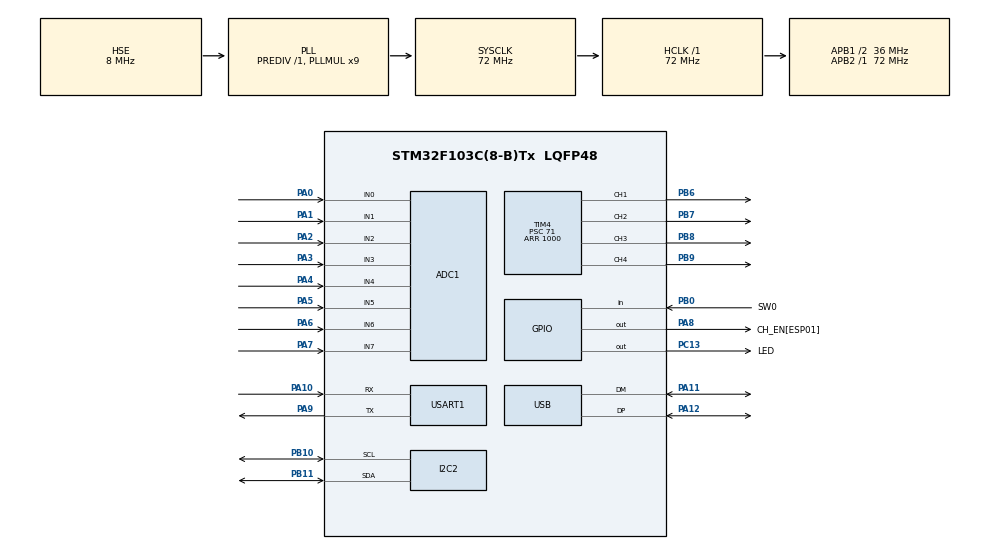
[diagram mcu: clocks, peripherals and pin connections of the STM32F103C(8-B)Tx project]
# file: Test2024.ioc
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ADC1.Channel-0\#ChannelRegularConversion=ADC_CHANNEL_0
ADC1.Channel-1\#ChannelRegularConversion=ADC_CHANNEL_1
ADC1.Channel-2\#ChannelRegularConversion=ADC_CHANNEL_2
ADC1.Channel-3\#ChannelRegularConversion=ADC_CHANNEL_3
ADC1.Channel-4\#ChannelRegularConversion=ADC_CHANNEL_4
ADC1.Channel-5\#ChannelRegularConversion=ADC_CHANNEL_5
ADC1.Channel-6\#ChannelRegularConversion=ADC_CHANNEL_6
ADC1.Channel-7\#ChannelRegularConversion=ADC_CHANNEL_7
ADC1.NbrOfConversion=8
ADC1.NbrOfConversionFlag=1
ADC1.Rank-0\#ChannelRegularConversion=1
ADC1.Rank-1\#ChannelRegularConversion=2
ADC1.Rank-2\#ChannelRegularConversion=3
ADC1.Rank-3\#ChannelRegularConversion=4
ADC1.Rank-4\#ChannelRegularConversion=5
ADC1.Rank-5\#ChannelRegularConversion=6
ADC1.Rank-6\#ChannelRegularConversion=7
ADC1.Rank-7\#ChannelRegularConversion=8
ADC1.SamplingTime-0\#ChannelRegularConversion=ADC_SAMPLETIME_55CYCLES_5
ADC1.SamplingTime-1\#ChannelRegularConversion=ADC_SAMPLETIME_55CYCLES_5
ADC1.SamplingTime-2\#ChannelRegularConversion=ADC_SAMPLETIME_55CYCLES_5
ADC1.SamplingTime-3\#ChannelRegularConversion=ADC_SAMPLETIME_55CYCLES_5
ADC1.SamplingTime-4\#ChannelRegularConversion=ADC_SAMPLETIME_55CYCLES_5
ADC1.SamplingTime-5\#ChannelRegularConversion=ADC_SAMPLETIME_55CYCLES_5
ADC1.SamplingTime-6\#ChannelRegularConversion=ADC_SAMPLETIME_55CYCLES_5
ADC1.SamplingTime-7\#ChannelRegularConversion=ADC_SAMPLETIME_55CYCLES_5
ADC1.master=1
Dma.ADC1.0.Direction=DMA_PERIPH_TO_MEMORY
Dma.ADC1.0.Instance=DMA1_Channel1
Dma.ADC1.0.MemDataAlignment=DMA_MDATAALIGN_HALFWORD
Dma.ADC1.0.MemInc=DMA_MINC_ENABLE
Dma.ADC1.0.Mode=DMA_NORMAL
Dma.ADC1.0.PeriphDataAlignment=DMA_PDATAALIGN_HALFWORD
Dma.ADC1.0.PeriphInc=DMA_PINC_DISABLE
Dma.ADC1.0.Priority=DMA_PRIORITY_LOW
Dma.I2C2_RX.1.Direction=DMA_PERIPH_TO_MEMORY
Dma.I2C2_RX.1.Instance=DMA1_Channel5
Dma.I2C2_RX.1.MemDataAlignment=DMA_MDATAALIGN_BYTE
Dma.I2C2_RX.1.MemInc=DMA_MINC_ENABLE
Dma.I2C2_RX.1.Mode=DMA_NORMAL
Dma.I2C2_RX.1.PeriphDataAlignment=DMA_PDATAALIGN_BYTE
Dma.I2C2_RX.1.PeriphInc=DMA_PINC_DISABLE
Dma.I2C2_RX.1.Priority=DMA_PRIORITY_LOW
Dma.I2C2_TX.2.Direction=DMA_MEMORY_TO_PERIPH
Dma.I2C2_TX.2.Instance=DMA1_Channel4
Dma.I2C2_TX.2.MemDataAlignment=DMA_MDATAALIGN_BYTE
Dma.I2C2_TX.2.MemInc=DMA_MINC_ENABLE
Dma.I2C2_TX.2.Mode=DMA_NORMAL
Dma.I2C2_TX.2.PeriphDataAlignment=DMA_PDATAALIGN_BYTE
Dma.I2C2_TX.2.PeriphInc=DMA_PINC_DISABLE
Dma.I2C2_TX.2.Priority=DMA_PRIORITY_LOW
Dma.Request0=ADC1
Dma.Request1=I2C2_RX
Dma.Request2=I2C2_TX
I2C2.I2C_Mode=I2C_Fast
Mcu.Family=STM32F1
Mcu.Name=STM32F103C(8-B)Tx
Mcu.Package=LQFP48
NVIC.DMA1_Channel1_IRQn=true\:0\:0\:false\:false\:true\:false\:true\:true
NVIC.DMA1_Channel4_IRQn=true\:0\:0\:false\:false\:true\:false\:true\:true
NVIC.DMA1_Channel5_IRQn=true\:0\:0\:false\:false\:true\:false\:true\:true
NVIC.I2C2_EV_IRQn=true\:0\:0\:false\:false\:true\:true\:true\:true
NVIC.PriorityGroup=NVIC_PRIORITYGROUP_4
NVIC.TIM1_UP_IRQn=true\:0\:0\:false\:false\:true\:true\:true\:true
NVIC.USART1_IRQn=true\:0\:0\:false\:false\:true\:true\:true\:true
NVIC.USB_LP_CAN1_RX0_IRQn=true\:0\:0\:false\:false\:true\:false\:true\:true
PA0-WKUP.Signal=ADCx_IN0
PA1.Signal=ADCx_IN1
PA10.Mode=Asynchronous
PA10.Signal=USART1_RX
PA11.Mode=Device
PA11.Signal=USB_DM
PA12.Mode=Device
PA12.Signal=USB_DP
PA13.Mode=Serial_Wire
PA13.Signal=SYS_JTMS-SWDIO
PA14.Mode=Serial_Wire
PA14.Signal=SYS_JTCK-SWCLK
PA2.Signal=ADCx_IN2
PA3.Signal=ADCx_IN3
PA4.Signal=ADCx_IN4
PA5.Signal=ADCx_IN5
PA6.Signal=ADCx_IN6
PA7.Signal=ADCx_IN7
PA8.GPIO_Label=CH_EN[ESP01]
PA8.Signal=GPIO_Output
PA9.Mode=Asynchronous
PA9.Signal=USART1_TX
PB0.GPIO_Label=SW0
PB0.GPIO_PuPd=GPIO_PULLUP
PB0.Signal=GPIO_Input
PB10.Mode=I2C
PB10.Signal=I2C2_SCL
PB11.Mode=I2C
PB11.Signal=I2C2_SDA
PB6.Signal=S_TIM4_CH1
PB7.Signal=S_TIM4_CH2
PB8.Signal=S_TIM4_CH3
PB9.Signal=S_TIM4_CH4
PC13-TAMPER-RTC.GPIO_Label=LED
PC13-TAMPER-RTC.Signal=GPIO_Output
PC14-OSC32_IN.Mode=LSE-External-Oscillator
PC14-OSC32_IN.Signal=RCC_OSC32_IN
PC15-OSC32_OUT.Mode=LSE-External-Oscillator
PC15-OSC32_OUT.Signal=RCC_OSC32_OUT
PD0-OSC_IN.Mode=HSE-External-Oscillator
PD0-OSC_IN.Signal=RCC_OSC_IN
PD1-OSC_OUT.Mode=HSE-External-Oscillator
PD1-OSC_OUT.Signal=RCC_OSC_OUT
ProjectManager.HeapSize=0x200
ProjectManager.StackSize=0x400
ProjectManager.TargetToolchain=STM32CubeIDE
RCC.ADCPresc=RCC_ADCPCLK2_DIV6
RCC.AHBFreq_Value=72000000
RCC.APB1CLKDivider=RCC_HCLK_DIV2
RCC.APB1Freq_Value=36000000
RCC.APB1TimFreq_Value=72000000
RCC.APB2Freq_Value=72000000
RCC.APB2TimFreq_Value=72000000
RCC.HCLKFreq_Value=72000000
RCC.PLLMUL=RCC_PLL_MUL9
RCC.SYSCLKFreq_VALUE=72000000
RCC.SYSCLKSource=RCC_SYSCLKSOURCE_PLLCLK
RCC.USBFreq_Value=48000000
RCC.USBPrescaler=RCC_USBCLKSOURCE_PLL_DIV1_5
SH.ADCx_IN0.0=ADC1_IN0,IN0
SH.ADCx_IN1.0=ADC1_IN1,IN1
SH.ADCx_IN2.0=ADC1_IN2,IN2
SH.ADCx_IN3.0=ADC1_IN3,IN3
SH.ADCx_IN4.0=ADC1_IN4,IN4
SH.ADCx_IN5.0=ADC1_IN5,IN5
SH.ADCx_IN6.0=ADC1_IN6,IN6
SH.ADCx_IN7.0=ADC1_IN7,IN7
SH.S_TIM4_CH1.0=TIM4_CH1,PWM Generation1 CH1
SH.S_TIM4_CH2.0=TIM4_CH2,PWM Generation2 CH2
SH.S_TIM4_CH3.0=TIM4_CH3,PWM Generation3 CH3
SH.S_TIM4_CH4.0=TIM4_CH4,PWM Generation4 CH4
TIM1.Period=249
TIM1.Prescaler=71
TIM4.Channel-PWM\ Generation1\ CH1=TIM_CHANNEL_1
TIM4.Channel-PWM\ Generation2\ CH2=TIM_CHANNEL_2
TIM4.Channel-PWM\ Generation3\ CH3=TIM_CHANNEL_3
TIM4.Channel-PWM\ Generation4\ CH4=TIM_CHANNEL_4
TIM4.Period=1000
TIM4.Prescaler=71
USART1.VirtualMode=VM_ASYNC
USB.low_power_enable=DISABLE
USB_DEVICE.APP_RX_DATA_SIZE=256
USB_DEVICE.APP_TX_DATA_SIZE=256
USB_DEVICE.CLASS_NAME_FS=CDC
USB_DEVICE.PID_CDC_FS=0x5740
USB_DEVICE.VID=0x483
USB_DEVICE.VirtualMode=Cdc
USB_DEVICE.VirtualModeFS=Cdc_FS
VP_TIM1_VS_ClockSourceINT.Mode=Internal
VP_TIM4_VS_ClockSourceINT.Mode=Internal
VP_USB_DEVICE_VS_USB_DEVICE_CDC_FS.Mode=CDC_FS
board=custom

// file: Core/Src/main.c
/* USER CODE BEGIN Header */
/**
 ******************************************************************************
 * @file           : main.c
 * @brief          : Main program body
 ******************************************************************************
 * @attention
 *
 * Copyright (c) 2024 STMicroelectronics.
 * All rights reserved.
 *
 * This software is licensed under terms that can be found in the LICENSE file
 * in the root directory of this software component.
 * If no LICENSE file comes with this software, it is provided AS-IS.
 *
 ******************************************************************************
 */
/* USER CODE END Header */
#include "main.h"
#include "usb_device.h"

/* USER CODE BEGIN Includes */
#include "app_core.h"
/* USER CODE END Includes */

ADC_HandleTypeDef hadc1;
DMA_HandleTypeDef hdma_adc1;

I2C_HandleTypeDef hi2c2;
DMA_HandleTypeDef hdma_i2c2_rx;
DMA_HandleTypeDef hdma_i2c2_tx;

TIM_HandleTypeDef htim1;
TIM_HandleTypeDef htim4;

UART_HandleTypeDef huart1;

void SystemClock_Config(void);
static void MX_GPIO_Init(void);
static void MX_DMA_Init(void);
static void MX_ADC1_Init(void);
static void MX_I2C2_Init(void);
static void MX_TIM1_Init(void);
static void MX_TIM4_Init(void);
static void MX_USART1_UART_Init(void);

/* USER CODE BEGIN 0 */

/*
 * Implementaciones de Callbacks HAL.
 * Estas funciones simplemente delegan la llamada al módulo app_core,
 * manteniendo este archivo (main.c) limpio y enfocado en la inicialización.
 */

void HAL_TIM_PeriodElapsedCallback(TIM_HandleTypeDef *htim)
{
  App_Core_TIM_PeriodElapsedCallback(htim);
}

void HAL_ADC_ConvCpltCallback(ADC_HandleTypeDef *hadc)
{
  App_Core_ADC_ConvCpltCallback(hadc);
}

void HAL_UART_RxCpltCallback(UART_HandleTypeDef *huart)
{
  App_Core_UART_RxCpltCallback(huart);
}

void HAL_I2C_MemTxCpltCallback(I2C_HandleTypeDef *hi2c)
{
  App_Core_I2C_MemTxCpltCallback(hi2c);
}

void HAL_I2C_MemRxCpltCallback(I2C_HandleTypeDef *hi2c)
{
  App_Core_I2C_MemRxCpltCallback(hi2c);
}

// La función de recepción de USB es llamada desde la librería del USB,
// no es un callback HAL estándar, pero aplicamos el mismo principio.
void USB_ReceiveData(uint8_t *buf, uint16_t len)
{
  App_Core_USB_ReceiveData(buf, len);
}

/* USER CODE END 0 */

int main(void)
{

  /* MCU Configuration--------------------------------------------------------*/

  /* Reset of all peripherals, Initializes the Flash interface and the Systick. */
  HAL_Init();

  /* Configure the system clock */
  SystemClock_Config();

  /* Initialize all configured peripherals */
  MX_GPIO_Init();
  MX_DMA_Init();
  MX_USB_DEVICE_Init();
  MX_ADC1_Init();
  MX_I2C2_Init();
  MX_TIM1_Init();
  MX_TIM4_Init();
  MX_USART1_UART_Init();
  /* USER CODE BEGIN 2 */

  App_Core_Init();

  /* USER CODE END 2 */

  /* Infinite loop */
  while (1)
  {

    /* USER CODE BEGIN 3 */
    // Ejecuta el bucle principal de la aplicación
    App_Core_Loop();
  }
  /* USER CODE END 3 */
}

void SystemClock_Config(void)
{
  RCC_OscInitTypeDef RCC_OscInitStruct = {0};
  RCC_ClkInitTypeDef RCC_ClkInitStruct = {0};
  RCC_PeriphCLKInitTypeDef PeriphClkInit = {0};

  /** Initializes the RCC Oscillators according to the specified parameters
   * in the RCC_OscInitTypeDef structure.
   */
  RCC_OscInitStruct.OscillatorType = RCC_OSCILLATORTYPE_HSE;
  RCC_OscInitStruct.HSEState = RCC_HSE_ON;
  RCC_OscInitStruct.HSEPredivValue = RCC_HSE_PREDIV_DIV1;
  RCC_OscInitStruct.HSIState = RCC_HSI_ON;
  RCC_OscInitStruct.PLL.PLLState = RCC_PLL_ON;
  RCC_OscInitStruct.PLL.PLLSource = RCC_PLLSOURCE_HSE;
  RCC_OscInitStruct.PLL.PLLMUL = RCC_PLL_MUL9;
  if (HAL_RCC_OscConfig(&RCC_OscInitStruct) != HAL_OK)
  {
    Error_Handler();
  }

  /** Initializes the CPU, AHB and APB buses clocks
   */
  RCC_ClkInitStruct.ClockType = RCC_CLOCKTYPE_HCLK | RCC_CLOCKTYPE_SYSCLK | RCC_CLOCKTYPE_PCLK1 | RCC_CLOCKTYPE_PCLK2;
  RCC_ClkInitStruct.SYSCLKSource = RCC_SYSCLKSOURCE_PLLCLK;
  RCC_ClkInitStruct.AHBCLKDivider = RCC_SYSCLK_DIV1;
  RCC_ClkInitStruct.APB1CLKDivider = RCC_HCLK_DIV2;
  RCC_ClkInitStruct.APB2CLKDivider = RCC_HCLK_DIV1;

  if (HAL_RCC_ClockConfig(&RCC_ClkInitStruct, FLASH_LATENCY_2) != HAL_OK)
  {
    Error_Handler();
  }
  PeriphClkInit.PeriphClockSelection = RCC_PERIPHCLK_ADC | RCC_PERIPHCLK_USB;
  PeriphClkInit.AdcClockSelection = RCC_ADCPCLK2_DIV6;
  PeriphClkInit.UsbClockSelection = RCC_USBCLKSOURCE_PLL_DIV1_5;
  if (HAL_RCCEx_PeriphCLKConfig(&PeriphClkInit) != HAL_OK)
  {
    Error_Handler();
  }
}

static void MX_ADC1_Init(void)
{

  ADC_ChannelConfTypeDef sConfig = {0};

  /** Common config
   */
  hadc1.Instance = ADC1;
  hadc1.Init.ScanConvMode = ADC_SCAN_ENABLE;
  hadc1.Init.ContinuousConvMode = DISABLE;
  hadc1.Init.DiscontinuousConvMode = DISABLE;
  hadc1.Init.ExternalTrigConv = ADC_SOFTWARE_START;
  hadc1.Init.DataAlign = ADC_DATAALIGN_RIGHT;
  hadc1.Init.NbrOfConversion = 8;
  if (HAL_ADC_Init(&hadc1) != HAL_OK)
  {
    Error_Handler();
  }

  /** Configure Regular Channel
   */
  sConfig.Channel = ADC_CHANNEL_0;
  sConfig.Rank = ADC_REGULAR_RANK_1;
  sConfig.SamplingTime = ADC_SAMPLETIME_55CYCLES_5;
  if (HAL_ADC_ConfigChannel(&hadc1, &sConfig) != HAL_OK)
  {
    Error_Handler();
  }

  /** Configure Regular Channel
   */
  sConfig.Channel = ADC_CHANNEL_1;
  sConfig.Rank = ADC_REGULAR_RANK_2;
  if (HAL_ADC_ConfigChannel(&hadc1, &sConfig) != HAL_OK)
  {
    Error_Handler();
  }

  /** Configure Regular Channel
   */
  sConfig.Channel = ADC_CHANNEL_2;
  sConfig.Rank = ADC_REGULAR_RANK_3;
  if (HAL_ADC_ConfigChannel(&hadc1, &sConfig) != HAL_OK)
  {
    Error_Handler();
  }

  /** Configure Regular Channel
   */
  sConfig.Channel = ADC_CHANNEL_3;
  sConfig.Rank = ADC_REGULAR_RANK_4;
  if (HAL_ADC_ConfigChannel(&hadc1, &sConfig) != HAL_OK)
  {
    Error_Handler();
  }

  /** Configure Regular Channel
   */
  sConfig.Channel = ADC_CHANNEL_4;
  sConfig.Rank = ADC_REGULAR_RANK_5;
  if (HAL_ADC_ConfigChannel(&hadc1, &sConfig) != HAL_OK)
  {
    Error_Handler();
  }

  /** Configure Regular Channel
   */
  sConfig.Channel = ADC_CHANNEL_5;
  sConfig.Rank = ADC_REGULAR_RANK_6;
  if (HAL_ADC_ConfigChannel(&hadc1, &sConfig) != HAL_OK)
  {
    Error_Handler();
  }

  /** Configure Regular Channel
   */
  sConfig.Channel = ADC_CHANNEL_6;
  sConfig.Rank = ADC_REGULAR_RANK_7;
  if (HAL_ADC_ConfigChannel(&hadc1, &sConfig) != HAL_OK)
  {
    Error_Handler();
  }

  /** Configure Regular Channel
   */
  sConfig.Channel = ADC_CHANNEL_7;
  sConfig.Rank = ADC_REGULAR_RANK_8;
  if (HAL_ADC_ConfigChannel(&hadc1, &sConfig) != HAL_OK)
  {
    Error_Handler();
  }
}

static void MX_I2C2_Init(void)
{

  hi2c2.Instance = I2C2;
  hi2c2.Init.ClockSpeed = 400000;
  hi2c2.Init.DutyCycle = I2C_DUTYCYCLE_2;
  hi2c2.Init.OwnAddress1 = 0;
  hi2c2.Init.AddressingMode = I2C_ADDRESSINGMODE_7BIT;
  hi2c2.Init.DualAddressMode = I2C_DUALADDRESS_DISABLE;
  hi2c2.Init.OwnAddress2 = 0;
  hi2c2.Init.GeneralCallMode = I2C_GENERALCALL_DISABLE;
  hi2c2.Init.NoStretchMode = I2C_NOSTRETCH_DISABLE;
  if (HAL_I2C_Init(&hi2c2) != HAL_OK)
  {
    Error_Handler();
  }
}

static void MX_TIM1_Init(void)
{

  TIM_ClockConfigTypeDef sClockSourceConfig = {0};
  TIM_MasterConfigTypeDef sMasterConfig = {0};

  htim1.Instance = TIM1;
  htim1.Init.Prescaler = 71;
  htim1.Init.CounterMode = TIM_COUNTERMODE_UP;
  htim1.Init.Period = 249;
  htim1.Init.ClockDivision = TIM_CLOCKDIVISION_DIV1;
  htim1.Init.RepetitionCounter = 0;
  htim1.Init.AutoReloadPreload = TIM_AUTORELOAD_PRELOAD_DISABLE;
  if (HAL_TIM_Base_Init(&htim1) != HAL_OK)
  {
    Error_Handler();
  }
  sClockSourceConfig.ClockSource = TIM_CLOCKSOURCE_INTERNAL;
  if (HAL_TIM_ConfigClockSource(&htim1, &sClockSourceConfig) != HAL_OK)
  {
    Error_Handler();
  }
  sMasterConfig.MasterOutputTrigger = TIM_TRGO_RESET;
  sMasterConfig.MasterSlaveMode = TIM_MASTERSLAVEMODE_DISABLE;
  if (HAL_TIMEx_MasterConfigSynchronization(&htim1, &sMasterConfig) != HAL_OK)
  {
    Error_Handler();
  }
}

static void MX_TIM4_Init(void)
{

  TIM_ClockConfigTypeDef sClockSourceConfig = {0};
  TIM_MasterConfigTypeDef sMasterConfig = {0};
  TIM_OC_InitTypeDef sConfigOC = {0};

  htim4.Instance = TIM4;
  htim4.Init.Prescaler = 71;
  htim4.Init.CounterMode = TIM_COUNTERMODE_UP;
  htim4.Init.Period = 1000;
  htim4.Init.ClockDivision = TIM_CLOCKDIVISION_DIV1;
  htim4.Init.AutoReloadPreload = TIM_AUTORELOAD_PRELOAD_DISABLE;
  if (HAL_TIM_Base_Init(&htim4) != HAL_OK)
  {
    Error_Handler();
  }
  sClockSourceConfig.ClockSource = TIM_CLOCKSOURCE_INTERNAL;
  if (HAL_TIM_ConfigClockSource(&htim4, &sClockSourceConfig) != HAL_OK)
  {
    Error_Handler();
  }
  if (HAL_TIM_PWM_Init(&htim4) != HAL_OK)
  {
    Error_Handler();
  }
  sMasterConfig.MasterOutputTrigger = TIM_TRGO_RESET;
  sMasterConfig.MasterSlaveMode = TIM_MASTERSLAVEMODE_DISABLE;
  if (HAL_TIMEx_MasterConfigSynchronization(&htim4, &sMasterConfig) != HAL_OK)
  {
    Error_Handler();
  }
  sConfigOC.OCMode = TIM_OCMODE_PWM1;
  sConfigOC.Pulse = 0;
  sConfigOC.OCPolarity = TIM_OCPOLARITY_HIGH;
  sConfigOC.OCFastMode = TIM_OCFAST_DISABLE;
  if (HAL_TIM_PWM_ConfigChannel(&htim4, &sConfigOC, TIM_CHANNEL_1) != HAL_OK)
  {
    Error_Handler();
  }
  if (HAL_TIM_PWM_ConfigChannel(&htim4, &sConfigOC, TIM_CHANNEL_2) != HAL_OK)
  {
    Error_Handler();
  }
  if (HAL_TIM_PWM_ConfigChannel(&htim4, &sConfigOC, TIM_CHANNEL_3) != HAL_OK)
  {
    Error_Handler();
  }
  if (HAL_TIM_PWM_ConfigChannel(&htim4, &sConfigOC, TIM_CHANNEL_4) != HAL_OK)
  {
    Error_Handler();
  }
  HAL_TIM_MspPostInit(&htim4);
}

static void MX_USART1_UART_Init(void)
{

  huart1.Instance = USART1;
  huart1.Init.BaudRate = 115200;
  huart1.Init.WordLength = UART_WORDLENGTH_8B;
  huart1.Init.StopBits = UART_STOPBITS_1;
  huart1.Init.Parity = UART_PARITY_NONE;
  huart1.Init.Mode = UART_MODE_TX_RX;
  huart1.Init.HwFlowCtl = UART_HWCONTROL_NONE;
  huart1.Init.OverSampling = UART_OVERSAMPLING_16;
  if (HAL_UART_Init(&huart1) != HAL_OK)
  {
    Error_Handler();
  }
}

static void MX_DMA_Init(void)
{

  /* DMA controller clock enable */
  __HAL_RCC_DMA1_CLK_ENABLE();

  /* DMA interrupt init */
  /* DMA1_Channel1_IRQn interrupt configuration */
  HAL_NVIC_SetPriority(DMA1_Channel1_IRQn, 0, 0);
  HAL_NVIC_EnableIRQ(DMA1_Channel1_IRQn);
  /* DMA1_Channel4_IRQn interrupt configuration */
  HAL_NVIC_SetPriority(DMA1_Channel4_IRQn, 0, 0);
  HAL_NVIC_EnableIRQ(DMA1_Channel4_IRQn);
  /* DMA1_Channel5_IRQn interrupt configuration */
  HAL_NVIC_SetPriority(DMA1_Channel5_IRQn, 0, 0);
  HAL_NVIC_EnableIRQ(DMA1_Channel5_IRQn);
}

static void MX_GPIO_Init(void)
{
  GPIO_InitTypeDef GPIO_InitStruct = {0};

  /* GPIO Ports Clock Enable */
  __HAL_RCC_GPIOC_CLK_ENABLE();
  __HAL_RCC_GPIOD_CLK_ENABLE();
  __HAL_RCC_GPIOA_CLK_ENABLE();
  __HAL_RCC_GPIOB_CLK_ENABLE();

  /*Configure GPIO pin Output Level */
  HAL_GPIO_WritePin(LED_GPIO_Port, LED_Pin, GPIO_PIN_RESET);

  /*Configure GPIO pin Output Level */
  HAL_GPIO_WritePin(CH_EN_GPIO_Port, CH_EN_Pin, GPIO_PIN_RESET);

  /*Configure GPIO pin : LED_Pin */
  GPIO_InitStruct.Pin = LED_Pin;
  GPIO_InitStruct.Mode = GPIO_MODE_OUTPUT_PP;
  GPIO_InitStruct.Pull = GPIO_NOPULL;
  GPIO_InitStruct.Speed = GPIO_SPEED_FREQ_LOW;
  HAL_GPIO_Init(LED_GPIO_Port, &GPIO_InitStruct);

  /*Configure GPIO pin : SW0_Pin */
  GPIO_InitStruct.Pin = SW0_Pin;
  GPIO_InitStruct.Mode = GPIO_MODE_INPUT;
  GPIO_InitStruct.Pull = GPIO_PULLUP;
  HAL_GPIO_Init(SW0_GPIO_Port, &GPIO_InitStruct);

  /*Configure GPIO pin : CH_EN_Pin */
  GPIO_InitStruct.Pin = CH_EN_Pin;
  GPIO_InitStruct.Mode = GPIO_MODE_OUTPUT_PP;
  GPIO_InitStruct.Pull = GPIO_NOPULL;
  GPIO_InitStruct.Speed = GPIO_SPEED_FREQ_LOW;
  HAL_GPIO_Init(CH_EN_GPIO_Port, &GPIO_InitStruct);

}

void Error_Handler(void)
{
  __disable_irq();
  while (1)
  {
  }
}
